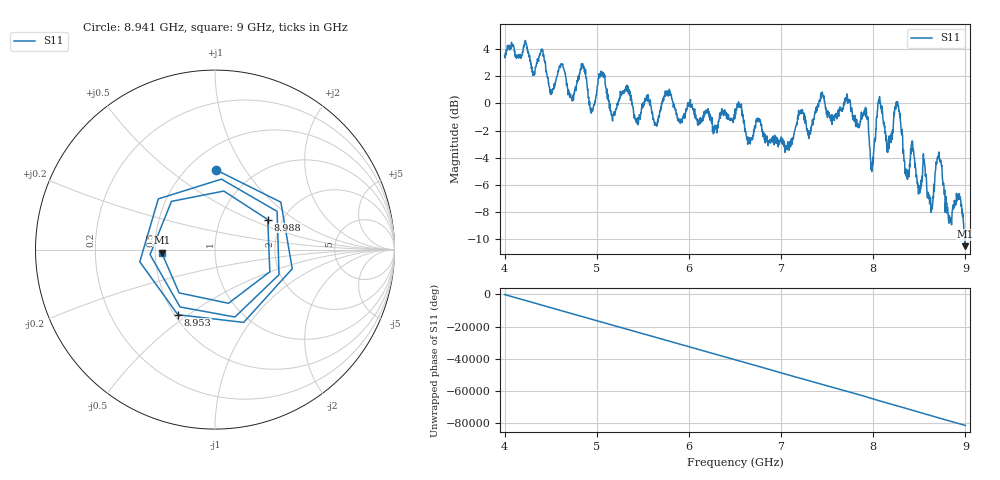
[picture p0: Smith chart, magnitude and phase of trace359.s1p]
! Created with skrf 1.8.0 (http://scikit-rf.org).
# Hz S RI R 50.0
!freq ReS11 ImS11
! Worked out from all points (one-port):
!   1601 points, 4 GHz to 9 GHz, reference 50 ohm
!   lowest |S11| = -10.5 dB at 9 GHz (marker M1), VSWR 1.85, Z = 27.1 - j1.02 ohm
!   |S11| at or under -10 dB: 8.992871 GHz to end of sweep
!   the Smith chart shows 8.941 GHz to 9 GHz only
!   S11 on the Smith chart (normalised r, x): 8.941 GHz: 0.68, +0.75; 8.953 GHz: 0.52, -0.46; 8.988 GHz: 1.68, +0.64; 9 GHz: 0.54, -0.02
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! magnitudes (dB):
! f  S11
! 4 GHz  3.5
! 4.403 GHz  3.9
! 4.509 GHz  0.8
! 4.625 GHz  2.8
! 4.728 GHz  0.4
! 4.853 GHz  2.6
! 4.944 GHz  -0.4
! 5.05 GHz  2.3
! 5.169 GHz  -1.2
! 5.25 GHz  0.3
! 5.875 GHz  -1.1
! 6.5 GHz  -0.6
! 7.125 GHz  -2.5
! 7.75 GHz  0.2
! 7.922 GHz  -1.0
! 7.984 GHz  -5.0
! 8.062 GHz  0.0
! 8.169 GHz  -3.3
! 8.259 GHz  0.0
! 8.375 GHz  -4.9
! 8.431 GHz  -3.5
! 8.628 GHz  -8.0
! 8.716 GHz  -3.8
! 8.828 GHz  -8.6
! 8.941 GHz  -7.1
! 8.953 GHz  -7.6
! 8.988 GHz  -9.4
! 9 GHz  -10.5
